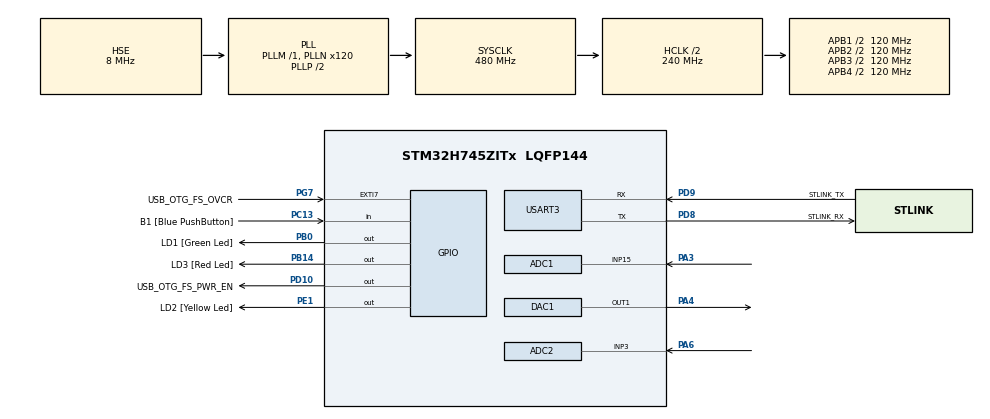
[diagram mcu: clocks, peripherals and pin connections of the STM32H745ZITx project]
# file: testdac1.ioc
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ADC1.Channel-4\#ChannelRegularConversion=ADC_CHANNEL_15
ADC1.NbrOfConversionFlag=1
ADC1.OffsetNumber-4\#ChannelRegularConversion=ADC_OFFSET_NONE
ADC1.OffsetSignedSaturation-4\#ChannelRegularConversion=DISABLE
ADC1.Rank-4\#ChannelRegularConversion=1
ADC1.SamplingTime-4\#ChannelRegularConversion=ADC_SAMPLETIME_1CYCLE_5
ADC1.master=1
ADC2.Channel-4\#ChannelRegularConversion=ADC_CHANNEL_3
ADC2.NbrOfConversionFlag=1
ADC2.OffsetNumber-4\#ChannelRegularConversion=ADC_OFFSET_NONE
ADC2.OffsetSignedSaturation-4\#ChannelRegularConversion=DISABLE
ADC2.Rank-4\#ChannelRegularConversion=1
ADC2.SamplingTime-4\#ChannelRegularConversion=ADC_SAMPLETIME_1CYCLE_5
CortexM4.IPs=FATFS_M4\:I,FREERTOS_M4\:I,IWDG2\:I,RCC,WWDG2\:I,DMA,BDMA,MDMA,NVIC2\:I,USART3,ETH,DEBUG,PDM2PCM_M4\:I,PWR,RESMGR_UTILITY,SYS_M4\:I,USB_DEVICE_M4\:I,USB_HOST_M4\:I,CORTEX_M4\:I,OPENAMP_M4\:I,VREFBUF,ADC1,ADC2
CortexM7.IPs=FATFS_M7\:I,FREERTOS_M7\:I,IWDG1\:I,RCC\:I,WWDG1\:I,DMA\:I,BDMA\:I,MDMA\:I,NVIC1\:I,SYS\:I,USART3\:I,USB_OTG_FS\:I,ETH\:I,CORTEX_M7\:I,DEBUG\:I,PDM2PCM_M7\:I,PWR\:I,RESMGR_UTILITY\:I,USB_DEVICE_M7\:I,USB_HOST_M7\:I,OPENAMP_M7\:I,VREFBUF\:I,DAC1\:I,TIM2\:I,TIM6\:I,ADC1\:I,ADC2\:I,TIM1\:I
DAC1.DAC_Trigger-DAC_OUT1=DAC_TRIGGER_T2_TRGO
Dma.DAC1_CH1.0.Direction=DMA_MEMORY_TO_PERIPH
Dma.DAC1_CH1.0.EventEnable=DISABLE
Dma.DAC1_CH1.0.FIFOMode=DMA_FIFOMODE_DISABLE
Dma.DAC1_CH1.0.Instance=DMA1_Stream5
Dma.DAC1_CH1.0.MemDataAlignment=DMA_MDATAALIGN_WORD
Dma.DAC1_CH1.0.MemInc=DMA_MINC_ENABLE
Dma.DAC1_CH1.0.Mode=DMA_CIRCULAR
Dma.DAC1_CH1.0.PeriphDataAlignment=DMA_PDATAALIGN_WORD
Dma.DAC1_CH1.0.PeriphInc=DMA_PINC_DISABLE
Dma.DAC1_CH1.0.Polarity=HAL_DMAMUX_REQ_GEN_RISING
Dma.DAC1_CH1.0.Priority=DMA_PRIORITY_LOW
Dma.DAC1_CH1.0.RequestNumber=1
Dma.DAC1_CH1.0.SignalID=NONE
Dma.DAC1_CH1.0.SyncEnable=DISABLE
Dma.DAC1_CH1.0.SyncPolarity=HAL_DMAMUX_SYNC_NO_EVENT
Dma.DAC1_CH1.0.SyncRequestNumber=1
Dma.DAC1_CH1.0.SyncSignalID=NONE
Dma.Request0=DAC1_CH1
Mcu.Family=STM32H7
Mcu.Name=STM32H745ZITx
Mcu.Package=LQFP144
NVIC1.DMA1_Stream5_IRQn=true\:0\:0\:false\:false\:true\:false\:true
NVIC1.PriorityGroup=NVIC_PRIORITYGROUP_4
NVIC1.TIM1_UP_IRQn=true\:0\:0\:false\:false\:true\:true\:true
NVIC1.TIM2_IRQn=true\:0\:0\:false\:false\:true\:true\:true
NVIC2.PriorityGroup=NVIC_PRIORITYGROUP_4
PA1.PinAttribute=CortexM7
PA1.Signal=ETH_REF_CLK
PA11.PinAttribute=CortexM7
PA11.Signal=USB_OTG_FS_DM
PA12.PinAttribute=CortexM7
PA12.Signal=USB_OTG_FS_DP
PA2.PinAttribute=CortexM7
PA2.Signal=ETH_MDIO
PA3.PinAttribute=CortexM7
PA3.Signal=ADCx_INP15
PA4.PinAttribute=CortexM7
PA4.Signal=COMP_DAC11_group
PA6.PinAttribute=CortexM7
PA6.Signal=ADCx_INP3
PA7.PinAttribute=CortexM7
PA7.Signal=ETH_CRS_DV
PA8.PinAttribute=CortexM7
PA8.Signal=USB_OTG_FS_SOF
PA9.PinAttribute=CortexM7
PA9.Signal=USB_OTG_FS_VBUS
PB0.GPIO_Label=LD1 [Green Led]
PB0.PinAttribute=Free
PB0.Signal=GPIO_Output
PB13.PinAttribute=CortexM7
PB13.Signal=ETH_TXD1
PB14.GPIO_Label=LD3 [Red Led]
PB14.PinAttribute=Free
PB14.Signal=GPIO_Output
PC1.PinAttribute=CortexM7
PC1.Signal=ETH_MDC
PC13.GPIO_Label=B1 [Blue PushButton]
PC13.PinAttribute=Free
PC13.Signal=GPIO_Input
PC14-OSC32_IN\ (OSC32_IN).PinAttribute=CortexM7
PC14-OSC32_IN\ (OSC32_IN).Signal=RCC_OSC32_IN
PC15-OSC32_OUT\ (OSC32_OUT).PinAttribute=CortexM7
PC15-OSC32_OUT\ (OSC32_OUT).Signal=RCC_OSC32_OUT
PC4.PinAttribute=CortexM7
PC4.Signal=ETH_RXD0
PC5.PinAttribute=CortexM7
PC5.Signal=ETH_RXD1
PD10.GPIO_Label=USB_OTG_FS_PWR_EN
PD10.PinAttribute=Free
PD10.Signal=GPIO_Output
PD8.GPIO_Label=STLINK_RX
PD8.Mode=Asynchronous
PD8.PinAttribute=CortexM7
PD8.Signal=USART3_TX
PD9.GPIO_Label=STLINK_TX
PD9.Mode=Asynchronous
PD9.PinAttribute=CortexM7
PD9.Signal=USART3_RX
PE1.GPIO_Label=LD2 [Yellow Led]
PE1.PinAttribute=Free
PE1.Signal=GPIO_Output
PG11.PinAttribute=CortexM7
PG11.Signal=ETH_TX_EN
PG13.PinAttribute=CortexM7
PG13.Signal=ETH_TXD0
PG7.GPIO_Label=USB_OTG_FS_OVCR
PG7.PinAttribute=Free
PG7.Signal=GPXTI7
PH0-OSC_IN\ (PH0).Mode=HSE-External-Oscillator
PH0-OSC_IN\ (PH0).PinAttribute=CortexM7
PH0-OSC_IN\ (PH0).Signal=RCC_OSC_IN
PH1-OSC_OUT\ (PH1).Mode=HSE-External-Oscillator
PH1-OSC_OUT\ (PH1).PinAttribute=CortexM7
PH1-OSC_OUT\ (PH1).Signal=RCC_OSC_OUT
ProjectManager.HeapSize=0x200
ProjectManager.StackSize=0x400
ProjectManager.TargetToolchain=STM32CubeIDE
RCC.ADCFreq_Value=50666666.666666664
RCC.APB1Freq_Value=120000000
RCC.APB2Freq_Value=120000000
RCC.APB3Freq_Value=120000000
RCC.APB4Freq_Value=120000000
RCC.CortexFreq_Value=480000000
RCC.D1PPRE=RCC_APB3_DIV2
RCC.D2PPRE1=RCC_APB1_DIV2
RCC.D2PPRE2=RCC_APB2_DIV2
RCC.D3PPRE=RCC_APB4_DIV2
RCC.DIVM1=1
RCC.DIVM2=1
RCC.DIVM3=22
RCC.DIVN1=120
RCC.DIVN2=19
RCC.DIVN3=169
RCC.DIVP2=3
RCC.DIVQ3=4
RCC.HCLKFreq_Value=240000000
RCC.HPRE=RCC_HCLK_DIV2
RCC.HSE_VALUE=8000000
RCC.PLL2FRACN=0
RCC.PLL3FRACN=0
RCC.PLLFRACN=0
RCC.PLLSourceVirtual=RCC_PLLSOURCE_HSE
RCC.SYSCLKFreq_VALUE=480000000
RCC.SYSCLKSource=RCC_SYSCLKSOURCE_PLLCLK
RCC.SupplySource=PWR_DIRECT_SMPS_SUPPLY
RCC.USBCLockSelection=RCC_USBCLKSOURCE_PLL3
RCC.USBFreq_Value=15363636.363636363
SH.ADCx_INP15.0=ADC1_INP15,IN15-Single-Ended
SH.ADCx_INP3.0=ADC2_INP3,IN3-Single-Ended
SH.COMP_DAC11_group.0=DAC1_OUT1,DAC_OUT1
TIM1.Period=4730
TIM1.Prescaler=100
TIM2.Period=500-1
TIM2.Prescaler=90-1
TIM2.TIM_MasterOutputTrigger=TIM_TRGO_UPDATE
USART3.VirtualMode-Asynchronous=VM_ASYNC
VP_SYS_M4_VS_Systick.Mode=SysTick
VP_TIM1_VS_ClockSourceINT.Mode=Internal
VP_TIM2_VS_ClockSourceINT.Mode=Internal
board=NUCLEO-H745ZI-Q

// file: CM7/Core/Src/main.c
/* USER CODE BEGIN Header */
/**
  ******************************************************************************
  * @file           : main.c
  * @brief          : Main program body
  ******************************************************************************
  * @attention
  *
  * <h2><center>&copy; Copyright (c) 2020 STMicroelectronics.
  * All rights reserved.</center></h2>
  *
  * This software component is licensed by ST under BSD 3-Clause license,
  * the "License"; You may not use this file except in compliance with the
  * License. You may obtain a copy of the License at:
  *                        opensource.org/licenses/BSD-3-Clause
  *
  ******************************************************************************
  */
/* USER CODE END Header */
#include "main.h"

/* USER CODE BEGIN Includes */

#include "math.h"
/* USER CODE END Includes */

/* USER CODE BEGIN PD */

#define HSEM_ID_0 (0U) /* HW semaphore 0*/
/* USER CODE END PD */

ADC_HandleTypeDef hadc1;
ADC_HandleTypeDef hadc2;

DAC_HandleTypeDef hdac1;
DMA_HandleTypeDef hdma_dac1_ch1;

TIM_HandleTypeDef htim1;
TIM_HandleTypeDef htim2;

UART_HandleTypeDef huart3;

void SystemClock_Config(void);
static void MX_GPIO_Init(void);
static void MX_DMA_Init(void);
static void MX_DAC1_Init(void);
static void MX_TIM2_Init(void);
static void MX_ADC1_Init(void);
static void MX_USART3_UART_Init(void);
static void MX_ADC2_Init(void);
static void MX_TIM1_Init(void);

/* USER CODE BEGIN 0 */

float value = 0.2;

uint32_t signal[500];

uint32_t sin_val[300];
uint32_t ground[100];
uint32_t peakpositive[100];
uint32_t peaknegative[100];
#define PI 3.1415926
int i=0;
int shift=0; //fattore che mi permette di traslare verticalmente il segnale generato
             //("+" verso l'alto, "-" verso il basso)
             // traslo la curva per superare i limiti di risoluzione del DAC, soprattutto con fattori di scala bassi

float scale=0.5; //fattore di scala: posso modificare l'ampiezza dell'onda generata

void get_sineval ()
{
	//for (i=0;i<100;i++)
	{
		//sin_val[i] = ((sin(i*2*PI/100) + 1)*((4095+1)/2) + shift);
		//sin_val[i] = ((sin(i*2*PI/100) + 1)*(4095+1/2)); //il secondo elemento è l'ampiezza *** attenzione, essendo valori interi, se <0 la sin appare tosata
		//il +1000 serve solo se applichiamo il fattore di scala e va modulato in base ad esso
		//1000 va bene per il fattore di scala 0.1, poichè mi fa uscire dal limite della risoluzione del DAC
		//sin_val[i]=sin_val[i]*scale; //fattore di scala
	}

	for (i=0;i<300;i++)
	{
		sin_val[i] = ((sin(i*2*PI/100) + 1)*((4095+1)/2) + shift)*scale;

	}

	for (i=0;i<100;i++)
	{
		ground[i] = (i-i+2048+shift)*scale;

	}

	for (i=0;i<100;i++)
	{
		peakpositive[i] = (i-i+4096+shift)*scale;

	}

	for (i=0;i<100;i++)
	{
		peaknegative[i] = (i-i+shift)*scale;

	}

	int index2=0;
	for (i=0; i<40;i++)
	{
		signal[index2++]=ground[i];
	}

	for (i=0; i<10;i++)
	{
		signal[index2++]=peakpositive[i];
	}

	for (i=0; i<10;i++)
	{
		signal[index2++]=peaknegative[i];
	}

	for (i=0; i<40;i++)
	{
		signal[index2++]=ground[i];
	}

	for (i=0; i<300;i++)
	{
		signal[index2++]=sin_val[i];
	}

	for (i=0; i<40;i++)
	{
		signal[index2++]=ground[i];
	}

	for (i=0; i<10;i++)
	{
		signal[index2++]=peakpositive[i];
	}

	for (i=0; i<10;i++)
	{
		signal[index2++]=peaknegative[i];
	}

	for (i=0; i<40;i++)
	{
		signal[index2++]=ground[i];
	}

}

uint8_t buffertx[500]="";

/* USER CODE END 0 */

int main(void)
{
  /* USER CODE BEGIN 1 */
	uint16_t uiAnalogData[500];
	uint16_t uiAnalogData2[500];
	uint16_t VIval[1000];
	//unsigned int uiAnalogData=0;

  /* USER CODE END 1 */
/* USER CODE BEGIN Boot_Mode_Sequence_0 */
  int32_t timeout;
/* USER CODE END Boot_Mode_Sequence_0 */

/* USER CODE BEGIN Boot_Mode_Sequence_1 */
  /* Wait until CPU2 boots and enters in stop mode or timeout*/
  timeout = 0xFFFF;
  while((__HAL_RCC_GET_FLAG(RCC_FLAG_D2CKRDY) != RESET) && (timeout-- > 0));
  if ( timeout < 0 )
  {
  Error_Handler();
  }
/* USER CODE END Boot_Mode_Sequence_1 */
  /* MCU Configuration--------------------------------------------------------*/

  /* Reset of all peripherals, Initializes the Flash interface and the Systick. */
  HAL_Init();

  /* Configure the system clock */
  SystemClock_Config();
/* USER CODE BEGIN Boot_Mode_Sequence_2 */
/* When system initialization is finished, Cortex-M7 will release Cortex-M4 by means of
HSEM notification */
/*HW semaphore Clock enable*/
__HAL_RCC_HSEM_CLK_ENABLE();
/*Take HSEM */
HAL_HSEM_FastTake(HSEM_ID_0);
/*Release HSEM in order to notify the CPU2(CM4)*/
HAL_HSEM_Release(HSEM_ID_0,0);
/* wait until CPU2 wakes up from stop mode */
timeout = 0xFFFF;
while((__HAL_RCC_GET_FLAG(RCC_FLAG_D2CKRDY) == RESET) && (timeout-- > 0));
if ( timeout < 0 )
{
Error_Handler();
}
/* USER CODE END Boot_Mode_Sequence_2 */

  /* Initialize all configured peripherals */
  MX_GPIO_Init();
  MX_DMA_Init();
  MX_DAC1_Init();
  MX_TIM2_Init();
  MX_ADC1_Init();
  MX_USART3_UART_Init();
  MX_ADC2_Init();
  MX_TIM1_Init();
  /* USER CODE BEGIN 2 */

 HAL_TIM_Base_Start(&htim2);

 get_sineval();

 HAL_DAC_Start_DMA(&hdac1, DAC_CHANNEL_1, signal, 500, DAC_ALIGN_12B_R);

  /* USER CODE END 2 */

  /* Infinite loop */
  while (1)
  {

    /* USER CODE BEGIN 3 */

	  uint8_t buffertx[1000]="";
int cont=0;
int j=0;
int alfa=100000;
int k=0;

        //DAC
		//enable timer
		for (i=0;i<500;i++)
		{

		  /*		   * *** DAC data value to voltage correspondence ***
        DAC_OUTx = VREF+ * DOR / 4095
        with  DOR is the Data Output Register
           VEF+ is the input voltage reference (refer to the device datasheet)
         e.g. To set DAC_OUT1 to 0.7V, use
           Assuming that VREF+ = 3.3V, DAC_OUT1 = (3.3 * 868) / 4095 = 0.7V

		   */
      		HAL_DAC_SetValue(&hdac1, DAC_CHANNEL_1, DAC_ALIGN_12B_R, signal[i]);

     		for (j=0;j<alfa;j++)  //ritardo sintetico
     		{
     			cont++;
     		}
      		//HAL_Delay(100); //min 0.5

		   //cont=cont-1;

		  // ADC
		  // HAL_ADC_Start(&hadc1);
		  //HAL_ADC_PollForConversion(&hadc1, 1000);
		  //uiAnalogData=HAL_ADC_GetValue(&hadc1);
		  //HAL_ADC_Stop(&hadc1);

     		// disabilito timer e sposto la parte seguente nell'interrupt del timer

     	  //Acquisizione dati dopo il passaggio dal sensore
		  HAL_ADC_Start(&hadc1);
		  HAL_ADC_PollForConversion(&hadc1, 1000);
		  uiAnalogData[i]=HAL_ADC_GetValue(&hadc1);
		  //uiAnalogData=HAL_ADC_GetValue(&hadc1);
		  HAL_ADC_Stop(&hadc1);

		  //Acquisizione dati prima il passaggio dal sensore
		  HAL_ADC_Start(&hadc2);
		  HAL_ADC_PollForConversion(&hadc2, 1000);
		  uiAnalogData2[i]=HAL_ADC_GetValue(&hadc2);
		  //uiAnalogData=HAL_ADC_GetValue(&hadc1);
		  HAL_ADC_Stop(&hadc2);

		  //USUART
		  //sprintf(buffertx, "%d\n\r", uiAnalogData[i]);
		  //HAL_UART_Transmit(&huart3, buffertx, 100, 1);

		  //HAL_Delay(1);

		}

		//Salvataggio di un vettore lunghezza 100 del singolo segnale DAC o ADC (tensione o corrente)
		//successivo invio a seriale
		//for (i=0;i<100;i++)
		//{
			//USUART

			  //sprintf(buffertx, "%d\n\r", uiAnalogData[i]);
			  //sprintf(buffertx, "%d\n\r", sin_val[i]);

			  //HAL_UART_Transmit(&huart3, buffertx, 100, 1);
		//}

		//Unione dei vettori Tensione e corrente e successivo invio a seriale

		int index=0;
		for (i=0;i<500;i++)
		{
			VIval[index++]=uiAnalogData2[i];
		}

		for (i=0;i<500;i++)
		{
			VIval[index++]=uiAnalogData[i];
		}

		for (i=0;i<1000;i++)
		{
			sprintf(buffertx, "%d\n\r", VIval[i]);

			HAL_UART_Transmit(&huart3, buffertx, 1000, 1);

		}
		//ritardo necessario per il plot su matlab, affinchè il vettore si formi sempre nello stesso ordine
		HAL_Delay(1000);
  }

  /* USER CODE END 3 */
}

void SystemClock_Config(void)
{
  RCC_OscInitTypeDef RCC_OscInitStruct = {0};
  RCC_ClkInitTypeDef RCC_ClkInitStruct = {0};
  RCC_PeriphCLKInitTypeDef PeriphClkInitStruct = {0};

  /** Supply configuration update enable
  */
  HAL_PWREx_ConfigSupply(PWR_DIRECT_SMPS_SUPPLY);
  /** Configure the main internal regulator output voltage
  */
  __HAL_PWR_VOLTAGESCALING_CONFIG(PWR_REGULATOR_VOLTAGE_SCALE0);

  while(!__HAL_PWR_GET_FLAG(PWR_FLAG_VOSRDY)) {}
  /** Macro to configure the PLL clock source
  */
  __HAL_RCC_PLL_PLLSOURCE_CONFIG(RCC_PLLSOURCE_HSE);
  /** Initializes the RCC Oscillators according to the specified parameters
  * in the RCC_OscInitTypeDef structure.
  */
  RCC_OscInitStruct.OscillatorType = RCC_OSCILLATORTYPE_HSE;
  RCC_OscInitStruct.HSEState = RCC_HSE_ON;
  RCC_OscInitStruct.PLL.PLLState = RCC_PLL_ON;
  RCC_OscInitStruct.PLL.PLLSource = RCC_PLLSOURCE_HSE;
  RCC_OscInitStruct.PLL.PLLM = 1;
  RCC_OscInitStruct.PLL.PLLN = 120;
  RCC_OscInitStruct.PLL.PLLP = 2;
  RCC_OscInitStruct.PLL.PLLQ = 2;
  RCC_OscInitStruct.PLL.PLLR = 2;
  RCC_OscInitStruct.PLL.PLLRGE = RCC_PLL1VCIRANGE_3;
  RCC_OscInitStruct.PLL.PLLVCOSEL = RCC_PLL1VCOWIDE;
  RCC_OscInitStruct.PLL.PLLFRACN = 0;
  if (HAL_RCC_OscConfig(&RCC_OscInitStruct) != HAL_OK)
  {
    Error_Handler();
  }
  /** Initializes the CPU, AHB and APB buses clocks
  */
  RCC_ClkInitStruct.ClockType = RCC_CLOCKTYPE_HCLK|RCC_CLOCKTYPE_SYSCLK
                              |RCC_CLOCKTYPE_PCLK1|RCC_CLOCKTYPE_PCLK2
                              |RCC_CLOCKTYPE_D3PCLK1|RCC_CLOCKTYPE_D1PCLK1;
  RCC_ClkInitStruct.SYSCLKSource = RCC_SYSCLKSOURCE_PLLCLK;
  RCC_ClkInitStruct.SYSCLKDivider = RCC_SYSCLK_DIV1;
  RCC_ClkInitStruct.AHBCLKDivider = RCC_HCLK_DIV2;
  RCC_ClkInitStruct.APB3CLKDivider = RCC_APB3_DIV2;
  RCC_ClkInitStruct.APB1CLKDivider = RCC_APB1_DIV2;
  RCC_ClkInitStruct.APB2CLKDivider = RCC_APB2_DIV2;
  RCC_ClkInitStruct.APB4CLKDivider = RCC_APB4_DIV2;

  if (HAL_RCC_ClockConfig(&RCC_ClkInitStruct, FLASH_LATENCY_4) != HAL_OK)
  {
    Error_Handler();
  }
  PeriphClkInitStruct.PeriphClockSelection = RCC_PERIPHCLK_USART3|RCC_PERIPHCLK_ADC;
  PeriphClkInitStruct.PLL2.PLL2M = 1;
  PeriphClkInitStruct.PLL2.PLL2N = 19;
  PeriphClkInitStruct.PLL2.PLL2P = 3;
  PeriphClkInitStruct.PLL2.PLL2Q = 2;
  PeriphClkInitStruct.PLL2.PLL2R = 2;
  PeriphClkInitStruct.PLL2.PLL2RGE = RCC_PLL2VCIRANGE_3;
  PeriphClkInitStruct.PLL2.PLL2VCOSEL = RCC_PLL2VCOMEDIUM;
  PeriphClkInitStruct.PLL2.PLL2FRACN = 0;
  PeriphClkInitStruct.Usart234578ClockSelection = RCC_USART234578CLKSOURCE_D2PCLK1;
  PeriphClkInitStruct.AdcClockSelection = RCC_ADCCLKSOURCE_PLL2;
  if (HAL_RCCEx_PeriphCLKConfig(&PeriphClkInitStruct) != HAL_OK)
  {
    Error_Handler();
  }
}

static void MX_ADC1_Init(void)
{

  ADC_MultiModeTypeDef multimode = {0};
  ADC_ChannelConfTypeDef sConfig = {0};

  /** Common config
  */
  hadc1.Instance = ADC1;
  hadc1.Init.ClockPrescaler = ADC_CLOCK_ASYNC_DIV1;
  hadc1.Init.Resolution = ADC_RESOLUTION_16B;
  hadc1.Init.ScanConvMode = ADC_SCAN_DISABLE;
  hadc1.Init.EOCSelection = ADC_EOC_SINGLE_CONV;
  hadc1.Init.LowPowerAutoWait = DISABLE;
  hadc1.Init.ContinuousConvMode = DISABLE;
  hadc1.Init.NbrOfConversion = 1;
  hadc1.Init.DiscontinuousConvMode = DISABLE;
  hadc1.Init.ExternalTrigConv = ADC_SOFTWARE_START;
  hadc1.Init.ExternalTrigConvEdge = ADC_EXTERNALTRIGCONVEDGE_NONE;
  hadc1.Init.ConversionDataManagement = ADC_CONVERSIONDATA_DR;
  hadc1.Init.Overrun = ADC_OVR_DATA_PRESERVED;
  hadc1.Init.LeftBitShift = ADC_LEFTBITSHIFT_NONE;
  hadc1.Init.OversamplingMode = DISABLE;
  if (HAL_ADC_Init(&hadc1) != HAL_OK)
  {
    Error_Handler();
  }
  /** Configure the ADC multi-mode
  */
  multimode.Mode = ADC_MODE_INDEPENDENT;
  if (HAL_ADCEx_MultiModeConfigChannel(&hadc1, &multimode) != HAL_OK)
  {
    Error_Handler();
  }
  /** Configure Regular Channel
  */
  sConfig.Channel = ADC_CHANNEL_15;
  sConfig.Rank = ADC_REGULAR_RANK_1;
  sConfig.SamplingTime = ADC_SAMPLETIME_1CYCLE_5;
  sConfig.SingleDiff = ADC_SINGLE_ENDED;
  sConfig.OffsetNumber = ADC_OFFSET_NONE;
  sConfig.Offset = 0;
  sConfig.OffsetSignedSaturation = DISABLE;
  if (HAL_ADC_ConfigChannel(&hadc1, &sConfig) != HAL_OK)
  {
    Error_Handler();
  }

}

static void MX_ADC2_Init(void)
{

  ADC_ChannelConfTypeDef sConfig = {0};

  /** Common config
  */
  hadc2.Instance = ADC2;
  hadc2.Init.ClockPrescaler = ADC_CLOCK_ASYNC_DIV1;
  hadc2.Init.Resolution = ADC_RESOLUTION_16B;
  hadc2.Init.ScanConvMode = ADC_SCAN_DISABLE;
  hadc2.Init.EOCSelection = ADC_EOC_SINGLE_CONV;
  hadc2.Init.LowPowerAutoWait = DISABLE;
  hadc2.Init.ContinuousConvMode = DISABLE;
  hadc2.Init.NbrOfConversion = 1;
  hadc2.Init.DiscontinuousConvMode = DISABLE;
  hadc2.Init.ExternalTrigConv = ADC_SOFTWARE_START;
  hadc2.Init.ExternalTrigConvEdge = ADC_EXTERNALTRIGCONVEDGE_NONE;
  hadc2.Init.ConversionDataManagement = ADC_CONVERSIONDATA_DR;
  hadc2.Init.Overrun = ADC_OVR_DATA_PRESERVED;
  hadc2.Init.LeftBitShift = ADC_LEFTBITSHIFT_NONE;
  hadc2.Init.OversamplingMode = DISABLE;
  if (HAL_ADC_Init(&hadc2) != HAL_OK)
  {
    Error_Handler();
  }
  /** Configure Regular Channel
  */
  sConfig.Channel = ADC_CHANNEL_3;
  sConfig.Rank = ADC_REGULAR_RANK_1;
  sConfig.SamplingTime = ADC_SAMPLETIME_1CYCLE_5;
  sConfig.SingleDiff = ADC_SINGLE_ENDED;
  sConfig.OffsetNumber = ADC_OFFSET_NONE;
  sConfig.Offset = 0;
  sConfig.OffsetSignedSaturation = DISABLE;
  if (HAL_ADC_ConfigChannel(&hadc2, &sConfig) != HAL_OK)
  {
    Error_Handler();
  }

}

static void MX_DAC1_Init(void)
{

  DAC_ChannelConfTypeDef sConfig = {0};

  /** DAC Initialization
  */
  hdac1.Instance = DAC1;
  if (HAL_DAC_Init(&hdac1) != HAL_OK)
  {
    Error_Handler();
  }
  /** DAC channel OUT1 config
  */
  sConfig.DAC_SampleAndHold = DAC_SAMPLEANDHOLD_DISABLE;
  sConfig.DAC_Trigger = DAC_TRIGGER_T2_TRGO;
  sConfig.DAC_OutputBuffer = DAC_OUTPUTBUFFER_ENABLE;
  sConfig.DAC_ConnectOnChipPeripheral = DAC_CHIPCONNECT_DISABLE;
  sConfig.DAC_UserTrimming = DAC_TRIMMING_FACTORY;
  if (HAL_DAC_ConfigChannel(&hdac1, &sConfig, DAC_CHANNEL_1) != HAL_OK)
  {
    Error_Handler();
  }

}

static void MX_TIM1_Init(void)
{

  TIM_ClockConfigTypeDef sClockSourceConfig = {0};
  TIM_MasterConfigTypeDef sMasterConfig = {0};

  htim1.Instance = TIM1;
  htim1.Init.Prescaler = 100;
  htim1.Init.CounterMode = TIM_COUNTERMODE_UP;
  htim1.Init.Period = 4730;
  htim1.Init.ClockDivision = TIM_CLOCKDIVISION_DIV1;
  htim1.Init.RepetitionCounter = 0;
  htim1.Init.AutoReloadPreload = TIM_AUTORELOAD_PRELOAD_DISABLE;
  if (HAL_TIM_Base_Init(&htim1) != HAL_OK)
  {
    Error_Handler();
  }
  sClockSourceConfig.ClockSource = TIM_CLOCKSOURCE_INTERNAL;
  if (HAL_TIM_ConfigClockSource(&htim1, &sClockSourceConfig) != HAL_OK)
  {
    Error_Handler();
  }
  sMasterConfig.MasterOutputTrigger = TIM_TRGO_RESET;
  sMasterConfig.MasterOutputTrigger2 = TIM_TRGO2_RESET;
  sMasterConfig.MasterSlaveMode = TIM_MASTERSLAVEMODE_DISABLE;
  if (HAL_TIMEx_MasterConfigSynchronization(&htim1, &sMasterConfig) != HAL_OK)
  {
    Error_Handler();
  }

}

static void MX_TIM2_Init(void)
{

  TIM_ClockConfigTypeDef sClockSourceConfig = {0};
  TIM_MasterConfigTypeDef sMasterConfig = {0};

  htim2.Instance = TIM2;
  htim2.Init.Prescaler = 90-1;
  htim2.Init.CounterMode = TIM_COUNTERMODE_UP;
  htim2.Init.Period = 500-1;
  htim2.Init.ClockDivision = TIM_CLOCKDIVISION_DIV1;
  htim2.Init.AutoReloadPreload = TIM_AUTORELOAD_PRELOAD_DISABLE;
  if (HAL_TIM_Base_Init(&htim2) != HAL_OK)
  {
    Error_Handler();
  }
  sClockSourceConfig.ClockSource = TIM_CLOCKSOURCE_INTERNAL;
  if (HAL_TIM_ConfigClockSource(&htim2, &sClockSourceConfig) != HAL_OK)
  {
    Error_Handler();
  }
  sMasterConfig.MasterOutputTrigger = TIM_TRGO_UPDATE;
  sMasterConfig.MasterSlaveMode = TIM_MASTERSLAVEMODE_DISABLE;
  if (HAL_TIMEx_MasterConfigSynchronization(&htim2, &sMasterConfig) != HAL_OK)
  {
    Error_Handler();
  }

}

static void MX_USART3_UART_Init(void)
{

  huart3.Instance = USART3;
  huart3.Init.BaudRate = 115200;
  huart3.Init.WordLength = UART_WORDLENGTH_8B;
  huart3.Init.StopBits = UART_STOPBITS_1;
  huart3.Init.Parity = UART_PARITY_NONE;
  huart3.Init.Mode = UART_MODE_TX_RX;
  huart3.Init.HwFlowCtl = UART_HWCONTROL_NONE;
  huart3.Init.OverSampling = UART_OVERSAMPLING_16;
  huart3.Init.OneBitSampling = UART_ONE_BIT_SAMPLE_DISABLE;
  huart3.Init.ClockPrescaler = UART_PRESCALER_DIV1;
  huart3.AdvancedInit.AdvFeatureInit = UART_ADVFEATURE_NO_INIT;
  if (HAL_UART_Init(&huart3) != HAL_OK)
  {
    Error_Handler();
  }
  if (HAL_UARTEx_SetTxFifoThreshold(&huart3, UART_TXFIFO_THRESHOLD_1_8) != HAL_OK)
  {
    Error_Handler();
  }
  if (HAL_UARTEx_SetRxFifoThreshold(&huart3, UART_RXFIFO_THRESHOLD_1_8) != HAL_OK)
  {
    Error_Handler();
  }
  if (HAL_UARTEx_DisableFifoMode(&huart3) != HAL_OK)
  {
    Error_Handler();
  }

}

static void MX_DMA_Init(void)
{

  /* DMA controller clock enable */
  __HAL_RCC_DMA1_CLK_ENABLE();

  /* DMA interrupt init */
  /* DMA1_Stream5_IRQn interrupt configuration */
  HAL_NVIC_SetPriority(DMA1_Stream5_IRQn, 0, 0);
  HAL_NVIC_EnableIRQ(DMA1_Stream5_IRQn);

}

static void MX_GPIO_Init(void)
{
  GPIO_InitTypeDef GPIO_InitStruct = {0};

  /* GPIO Ports Clock Enable */
  __HAL_RCC_GPIOC_CLK_ENABLE();
  __HAL_RCC_GPIOH_CLK_ENABLE();
  __HAL_RCC_GPIOA_CLK_ENABLE();
  __HAL_RCC_GPIOB_CLK_ENABLE();
  __HAL_RCC_GPIOD_CLK_ENABLE();
  __HAL_RCC_GPIOG_CLK_ENABLE();

  /*Configure GPIO pins : PC1 PC4 PC5 */
  GPIO_InitStruct.Pin = GPIO_PIN_1|GPIO_PIN_4|GPIO_PIN_5;
  GPIO_InitStruct.Mode = GPIO_MODE_AF_PP;
  GPIO_InitStruct.Pull = GPIO_NOPULL;
  GPIO_InitStruct.Speed = GPIO_SPEED_FREQ_LOW;
  GPIO_InitStruct.Alternate = GPIO_AF11_ETH;
  HAL_GPIO_Init(GPIOC, &GPIO_InitStruct);

  /*Configure GPIO pins : PA1 PA2 PA7 */
  GPIO_InitStruct.Pin = GPIO_PIN_1|GPIO_PIN_2|GPIO_PIN_7;
  GPIO_InitStruct.Mode = GPIO_MODE_AF_PP;
  GPIO_InitStruct.Pull = GPIO_NOPULL;
  GPIO_InitStruct.Speed = GPIO_SPEED_FREQ_LOW;
  GPIO_InitStruct.Alternate = GPIO_AF11_ETH;
  HAL_GPIO_Init(GPIOA, &GPIO_InitStruct);

  /*Configure GPIO pin : PB13 */
  GPIO_InitStruct.Pin = GPIO_PIN_13;
  GPIO_InitStruct.Mode = GPIO_MODE_AF_PP;
  GPIO_InitStruct.Pull = GPIO_NOPULL;
  GPIO_InitStruct.Speed = GPIO_SPEED_FREQ_LOW;
  GPIO_InitStruct.Alternate = GPIO_AF11_ETH;
  HAL_GPIO_Init(GPIOB, &GPIO_InitStruct);

  /*Configure GPIO pins : PA8 PA11 PA12 */
  GPIO_InitStruct.Pin = GPIO_PIN_8|GPIO_PIN_11|GPIO_PIN_12;
  GPIO_InitStruct.Mode = GPIO_MODE_AF_PP;
  GPIO_InitStruct.Pull = GPIO_NOPULL;
  GPIO_InitStruct.Speed = GPIO_SPEED_FREQ_LOW;
  GPIO_InitStruct.Alternate = GPIO_AF10_OTG1_FS;
  HAL_GPIO_Init(GPIOA, &GPIO_InitStruct);

  /*Configure GPIO pins : PG11 PG13 */
  GPIO_InitStruct.Pin = GPIO_PIN_11|GPIO_PIN_13;
  GPIO_InitStruct.Mode = GPIO_MODE_AF_PP;
  GPIO_InitStruct.Pull = GPIO_NOPULL;
  GPIO_InitStruct.Speed = GPIO_SPEED_FREQ_LOW;
  GPIO_InitStruct.Alternate = GPIO_AF11_ETH;
  HAL_GPIO_Init(GPIOG, &GPIO_InitStruct);

}

void Error_Handler(void)
{
}

/************************ (C) COPYRIGHT STMicroelectronics *****END OF FILE****/
